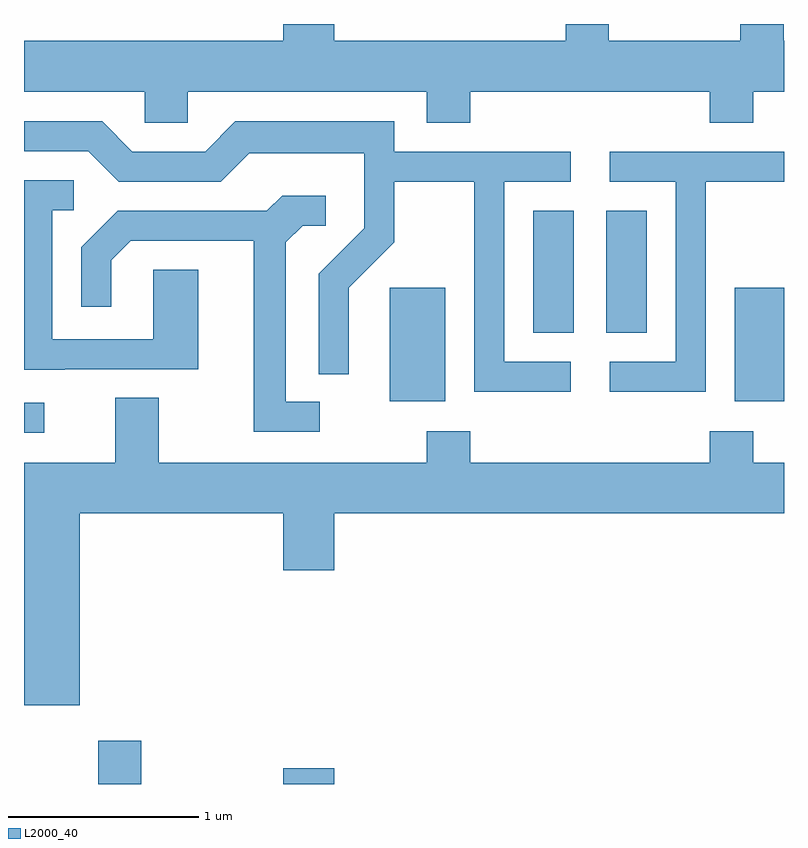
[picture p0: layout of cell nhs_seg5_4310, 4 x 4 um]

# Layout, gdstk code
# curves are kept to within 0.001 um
import gdstk
lib = gdstk.Library(unit=1e-6, precision=1e-09)
def R(c, l, rs):  # rectangles x0, y0, x1, y1
    for r in rs: c.add(gdstk.rectangle(r[:2], r[2:], *l))
def P(c, l, *ps):  # polygons
    for p in ps: c.add(gdstk.Polygon(p, *l))
L2000_40 = (2000, 40)

nhs_seg5_4310 = lib.new_cell('nhs_seg5_4310')
R(nhs_seg5_4310, L2000_40, [(314.001,1422.072,314.229,1422.299), (314.976,1422.072,315.244,1422.154), (313.611,1423.921,313.718,1424.079), (315.536,1424.086,315.829,1424.684), (317.351,1424.086,317.611,1424.684), (316.291,1424.446,316.504,1425.089), (316.676,1424.446,316.889,1425.089)])
P(nhs_seg5_4310, L2000_40, [(314.474,1425.716),(315.731,1425.716),(315.731,1425.551),(315.959,1425.551),(315.959,1425.716),(317.221,1425.716),(317.221,1425.551),(317.449,1425.551),(317.449,1425.716),(317.611,1425.716),(317.611,1425.984),(317.609,1425.984),(317.609,1426.072),(317.381,1426.072),(317.381,1425.984),(316.689,1425.984),(316.689,1426.072),(316.461,1426.072),(316.461,1425.984),(315.244,1425.984),(315.244,1426.072),(314.976,1426.072),(314.976,1425.984),(313.611,1425.984),(313.611,1425.716),(314.246,1425.716),(314.246,1425.551),(314.474,1425.551)],
  [(316.488,1424.294),(316.139,1424.294),(316.139,1425.241),(316.488,1425.241),(316.488,1425.399),(315.559,1425.399),(315.559,1425.559),(314.724,1425.559),(314.564,1425.399),(314.182,1425.399),(314.022,1425.559),(313.611,1425.559),(313.611,1425.401),(313.949,1425.401),(314.109,1425.241),(314.647,1425.241),(314.797,1425.391),(315.401,1425.391),(315.401,1424.997),(315.161,1424.757),(315.161,1424.228),(315.319,1424.228),(315.319,1424.684),(315.559,1424.924),(315.559,1425.241),(315.981,1425.241),(315.981,1424.136),(316.488,1424.136)],
  [(317.199,1425.241),(317.611,1425.241),(317.611,1425.399),(316.693,1425.399),(316.693,1425.241),(317.041,1425.241),(317.041,1424.294),(316.693,1424.294),(316.693,1424.136),(317.199,1424.136)],
  [(313.825,1424.256),(314.529,1424.256),(314.529,1424.779),(314.291,1424.779),(314.291,1424.414),(313.759,1424.414),(313.759,1425.091),(313.873,1425.091),(313.873,1425.249),(313.611,1425.249),(313.611,1424.251),(313.825,1424.251)],
  [(315.168,1424.084),(314.989,1424.084),(314.989,1424.924),(315.077,1425.011),(315.198,1425.011),(315.198,1425.169),(314.969,1425.169),(314.889,1425.089),(314.104,1425.089),(313.911,1424.897),(313.911,1424.583),(314.069,1424.583),(314.069,1424.829),(314.172,1424.931),(314.821,1424.931),(314.821,1423.926),(315.168,1423.926)],
  [(313.904,1423.496),(314.976,1423.496),(314.976,1423.196),(315.244,1423.196),(315.244,1423.496),(317.611,1423.496),(317.611,1423.764),(317.449,1423.764),(317.449,1423.929),(317.221,1423.929),(317.221,1423.764),(315.959,1423.764),(315.959,1423.929),(315.731,1423.929),(315.731,1423.764),(314.319,1423.764),(314.319,1424.104),(314.091,1424.104),(314.091,1423.764),(313.611,1423.764),(313.611,1422.486),(313.904,1422.486)])

lib.write_gds('nhs_seg5_4310.gds')
